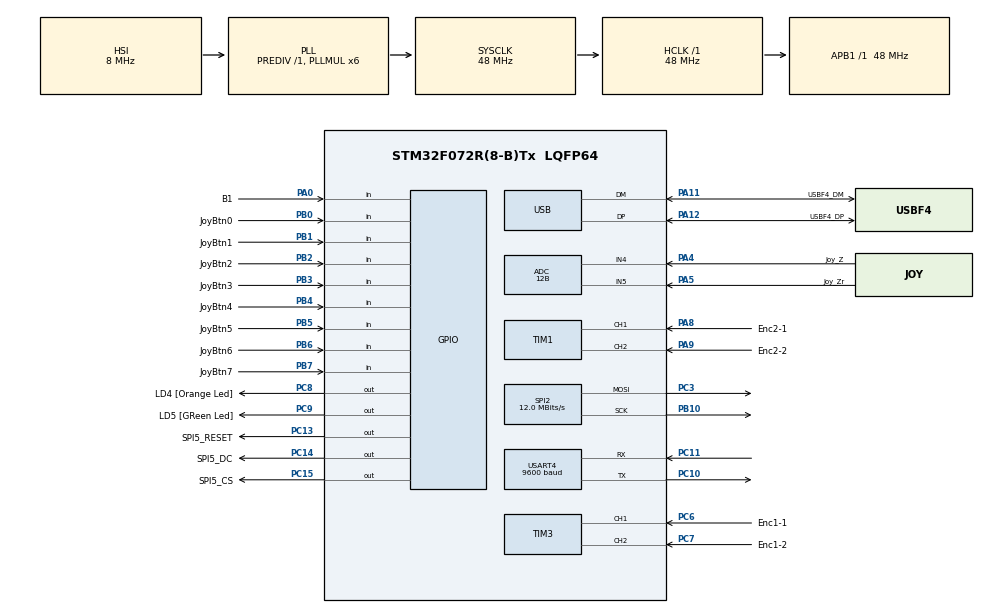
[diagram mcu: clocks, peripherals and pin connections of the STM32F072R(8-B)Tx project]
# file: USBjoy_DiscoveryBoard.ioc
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ADC.ClockPrescaler=ADC_CLOCK_ASYNC_DIV1
ADC.ContinuousConvMode=ENABLE
ADC.DMAContinuousRequests=ENABLE
ADC.DiscontinuousConvMode=DISABLE
ADC.EOCSelection=ADC_EOC_SINGLE_CONV
ADC.Overrun=ADC_OVR_DATA_PRESERVED
ADC.Resolution=ADC_RESOLUTION_12B
ADC.SamplingTime=ADC_SAMPLETIME_239CYCLES_5
ADC.ScanConvMode=ADC_SCAN_DIRECTION_FORWARD
Dma.ADC.0.Direction=DMA_PERIPH_TO_MEMORY
Dma.ADC.0.Instance=DMA1_Channel1
Dma.ADC.0.MemDataAlignment=DMA_MDATAALIGN_HALFWORD
Dma.ADC.0.MemInc=DMA_MINC_ENABLE
Dma.ADC.0.Mode=DMA_CIRCULAR
Dma.ADC.0.PeriphDataAlignment=DMA_PDATAALIGN_HALFWORD
Dma.ADC.0.PeriphInc=DMA_PINC_DISABLE
Dma.ADC.0.Priority=DMA_PRIORITY_LOW
Dma.Request0=ADC
Dma.Request1=SPI2_TX
Dma.SPI2_TX.1.Direction=DMA_MEMORY_TO_PERIPH
Dma.SPI2_TX.1.Instance=DMA1_Channel5
Dma.SPI2_TX.1.MemDataAlignment=DMA_MDATAALIGN_BYTE
Dma.SPI2_TX.1.MemInc=DMA_MINC_ENABLE
Dma.SPI2_TX.1.Mode=DMA_NORMAL
Dma.SPI2_TX.1.PeriphDataAlignment=DMA_PDATAALIGN_BYTE
Dma.SPI2_TX.1.PeriphInc=DMA_PINC_DISABLE
Dma.SPI2_TX.1.Priority=DMA_PRIORITY_LOW
Mcu.Family=STM32F0
Mcu.Name=STM32F072R(8-B)Tx
Mcu.Package=LQFP64
NVIC.DMA1_Channel1_IRQn=true\:0\:0\:false\:false\:true\:false\:true\:true
NVIC.DMA1_Channel4_5_6_7_IRQn=true\:0\:0\:false\:false\:true\:false\:true\:true
NVIC.SPI2_IRQn=true\:0\:0\:false\:false\:true\:true\:true\:true
NVIC.USB_IRQn=true\:0\:0\:false\:false\:true\:false\:true\:true
PA0.GPIO_Label=B1
PA0.GPIO_PuPd=GPIO_PULLDOWN
PA0.Signal=GPIO_Input
PA1.GPIO_Label=Joy1_Y
PA1.Signal=ADC_IN1
PA11.GPIO_Label=USBF4_DM
PA11.Mode=Device
PA11.Signal=USB_DM
PA12.GPIO_Label=USBF4_DP
PA12.Mode=Device
PA12.Signal=USB_DP
PA13.GPIO_Label=SWDIO
PA13.Mode=Serial_Wire
PA13.Signal=SYS_SWDIO
PA14.GPIO_Label=SWCLK
PA14.Mode=Serial_Wire
PA14.Signal=SYS_SWCLK
PA3.GPIO_Label=Joy2_Y
PA3.Signal=ADC_IN3
PA4.GPIO_Label=Joy_Z
PA4.Mode=IN4
PA4.Signal=ADC_IN4
PA5.GPIO_Label=Joy_Zr
PA5.Mode=IN5
PA5.Signal=ADC_IN5
PA6.Signal=TSC_G2_IO3
PA7.Signal=TSC_G2_IO4
PA8.GPIO_Label=Enc2-1
PA8.GPIO_PuPd=GPIO_PULLUP
PA8.Signal=S_TIM1_CH1
PA9.GPIO_Label=Enc2-2
PA9.GPIO_PuPd=GPIO_PULLUP
PA9.Signal=S_TIM1_CH2
PB0.GPIO_Label=JoyBtn0
PB0.GPIO_PuPd=GPIO_PULLDOWN
PB0.Signal=GPIO_Input
PB1.GPIO_Label=JoyBtn1
PB1.GPIO_PuPd=GPIO_PULLDOWN
PB1.Signal=GPIO_Input
PB10.Mode=TX_Only_Simplex_Unidirect_Master
PB10.Signal=SPI2_SCK
PB2.GPIO_Label=JoyBtn2
PB2.GPIO_PuPd=GPIO_PULLDOWN
PB2.Signal=GPIO_Input
PB3.GPIO_Label=JoyBtn3
PB3.GPIO_Mode=GPIO_MODE_INPUT
PB3.GPIO_PuPd=GPIO_PULLDOWN
PB3.Signal=GPIO_Input
PB4.GPIO_Label=JoyBtn4
PB4.GPIO_Mode=GPIO_MODE_INPUT
PB4.GPIO_PuPd=GPIO_PULLDOWN
PB4.Signal=GPIO_Input
PB5.GPIO_Label=JoyBtn5
PB5.GPIO_Mode=GPIO_MODE_INPUT
PB5.GPIO_PuPd=GPIO_PULLDOWN
PB5.Signal=GPIO_Input
PB6.GPIO_Label=JoyBtn6
PB6.GPIO_Mode=GPIO_MODE_INPUT
PB6.GPIO_PuPd=GPIO_PULLDOWN
PB6.Signal=GPIO_Input
PB7.GPIO_Label=JoyBtn7
PB7.GPIO_Mode=GPIO_MODE_INPUT
PB7.GPIO_PuPd=GPIO_PULLDOWN
PB7.Signal=GPIO_Input
PC10.Mode=Asynchronous
PC10.Signal=USART4_TX
PC11.Mode=Asynchronous
PC11.Signal=USART4_RX
PC13.GPIO_Label=SPI5_RESET
PC13.Signal=GPIO_Output
PC14-OSC32_IN.GPIO_Label=SPI5_DC
PC14-OSC32_IN.Signal=GPIO_Output
PC15-OSC32_OUT.GPIO_Label=SPI5_CS
PC15-OSC32_OUT.Signal=GPIO_Output
PC3.Mode=TX_Only_Simplex_Unidirect_Master
PC3.Signal=SPI2_MOSI
PC6.GPIO_Label=Enc1-1
PC6.GPIO_PuPd=GPIO_PULLUP
PC6.Signal=S_TIM3_CH1
PC7.GPIO_Label=Enc1-2
PC7.GPIO_PuPd=GPIO_PULLUP
PC7.Signal=S_TIM3_CH2
PC8.GPIO_Label=LD4 [Orange Led]
PC8.Signal=GPIO_Output
PC9.GPIO_Label=LD5 [GReen Led]
PC9.Signal=GPIO_Output
ProjectManager.HeapSize=0x200
ProjectManager.StackSize=0x400
ProjectManager.TargetToolchain=STM32CubeIDE
RCC.AHBFreq_Value=48000000
RCC.APB1Freq_Value=48000000
RCC.APB1TimFreq_Value=48000000
RCC.HCLKFreq_Value=48000000
RCC.PLLMUL=RCC_PLL_MUL6
RCC.SYSCLKFreq_VALUE=48000000
RCC.SYSCLKSource=RCC_SYSCLKSOURCE_PLLCLK
SH.S_TIM1_CH1.0=TIM1_CH1,Encoder_Interface
SH.S_TIM1_CH2.0=TIM1_CH2,Encoder_Interface
SH.S_TIM3_CH1.0=TIM3_CH1,Encoder_Interface
SH.S_TIM3_CH2.0=TIM3_CH2,Encoder_Interface
SPI2.BaudRatePrescaler=SPI_BAUDRATEPRESCALER_4
SPI2.CLKPhase=SPI_PHASE_2EDGE
SPI2.CLKPolarity=SPI_POLARITY_HIGH
SPI2.CalculateBaudRate=12.0 MBits/s
SPI2.DataSize=SPI_DATASIZE_8BIT
SPI2.Direction=SPI_DIRECTION_2LINES
SPI2.Mode=SPI_MODE_MASTER
SPI2.VirtualType=VM_MASTER
USART4.BaudRate=9600
USART4.VirtualMode-Asynchronous=VM_ASYNC
USB_DEVICE.CLASS_NAME_FS=CUSTOM_HID
USB_DEVICE.USBD_CUSTOMHID_OUTREPORT_BUF_SIZE=0x40
USB_DEVICE.USBD_CUSTOM_HID_REPORT_DESC_SIZE=80
USB_DEVICE.VirtualMode=CustomHid
USB_DEVICE.VirtualModeFS=Custom_Hid_FS
VP_ADC_Vbat_Input.Mode=IN-Vbat
VP_ADC_Vref_Input.Mode=IN-Vrefint
VP_RTC_VS_RTC_Activate.Mode=RTC_Enabled
VP_RTC_VS_RTC_Calendar.Mode=RTC_Calendar
VP_USB_DEVICE_VS_USB_DEVICE_CUSTOM_HID_FS.Mode=CUSTOM_HID_FS
board=STM32F072B-DISCO

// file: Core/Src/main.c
/* USER CODE BEGIN Header */
/**
  ******************************************************************************
  * @file           : main.c
  * @brief          : Main program body
  ******************************************************************************
  * @attention
  *
  * Copyright (c) 2025 STMicroelectronics.
  * All rights reserved.
  *
  * This software is licensed under terms that can be found in the LICENSE file
  * in the root directory of this software component.
  * If no LICENSE file comes with this software, it is provided AS-IS.
  *
  ******************************************************************************
  */
/* USER CODE END Header */
#include "main.h"
#include "usb_device.h"

/* USER CODE BEGIN Includes */
#include "usbd_customhid.h"
#include "otherFunc.h"
#include "uart.h"

#include "SSD1322_HW_Driver.h"
#include "SSD1322_API.h"
#include "SSD1322_GFX.h"

#include "Fonts/FreeMono12pt7b.h"
#include "Fonts/FreeSansOblique9pt7b.h"

/* USER CODE END Includes */

ADC_HandleTypeDef hadc;
DMA_HandleTypeDef hdma_adc;

RTC_HandleTypeDef hrtc;

SPI_HandleTypeDef hspi2;
DMA_HandleTypeDef hdma_spi2_tx;

TIM_HandleTypeDef htim1;
TIM_HandleTypeDef htim3;

UART_HandleTypeDef huart4;

/* USER CODE BEGIN PV */
extern USBD_HandleTypeDef hUsbDeviceFS;
uint8_t USB_RX_Buffer[64];
uint8_t USB_TX_Buffer[64];
uint16_t adcData[17] = {0};

uint8_t dmaEnd = 0;

uint32_t encode = 1;

FlagStatus USBDatainReady = RESET;

volatile uint8_t SPI2_TX_completed_flag = 1;    //flag indicating finish of SPI transmission

/* USER CODE END PV */

void SystemClock_Config(void);
static void MX_GPIO_Init(void);
static void MX_DMA_Init(void);
static void MX_ADC_Init(void);
static void MX_SPI2_Init(void);
static void MX_TIM1_Init(void);
static void MX_TIM3_Init(void);
static void MX_USART4_UART_Init(void);
static void MX_RTC_Init(void);

/* USER CODE BEGIN 0 */

void HAL_SPI_TxCpltCallback(SPI_HandleTypeDef *hspi)
{
	SSD1322_HW_drive_CS_high();
	SPI2_TX_completed_flag = 1;
}

/* USER CODE END 0 */

int main(void)
{

  /* MCU Configuration--------------------------------------------------------*/

  /* Reset of all peripherals, Initializes the Flash interface and the Systick. */
  HAL_Init();

  /* Configure the system clock */
  SystemClock_Config();

  /* Initialize all configured peripherals */
  MX_GPIO_Init();
  MX_DMA_Init();
  MX_USB_DEVICE_Init();
  MX_ADC_Init();
  MX_SPI2_Init();
  MX_TIM1_Init();
  MX_TIM3_Init();
  MX_USART4_UART_Init();
  MX_RTC_Init();
  /* USER CODE BEGIN 2 */

  uint8_t tx_buf[256 * 64 / 2];
  SSD1322_API_init();

  // запуск таймеров на обработку энкодеров
  HAL_TIM_Encoder_Start(&htim1, TIM_CHANNEL_ALL);
  HAL_TIM_Encoder_Start(&htim3, TIM_CHANNEL_ALL);

  // калибровка и запуск АЦП
  HAL_ADCEx_Calibration_Start(&hadc);
  HAL_ADC_Start_DMA(&hadc, (uint32_t *)adcData, 4);

  uint8_t len = 6;
  uint8_t buf[6] = {};

  /* USER CODE END 2 */

  /* Infinite loop */
  /* USER CODE BEGIN WHILE */
  while (1)
  {

		encode = __HAL_TIM_GET_COUNTER(&htim3);

		//Set frame buffer size in pixels - it is used to avoid writing to memory outside frame buffer
		//Normally it has to only be done once on initialization, but buffer size is changed near the end of while(1);.
		set_buffer_size(256, 64);
		// Fill buffer with zeros to clear any garbage values
		fill_buffer(tx_buf, 0);

		select_font(&FreeMono12pt7b);
		// now text will we written with that font
		len = 0;
		while(encode){
			draw_char(tx_buf, '0'+(encode % 10), 50 - (len*10), 20, 15);
			encode /= 10;
			len++;
		}

		// send a frame buffer to the display
		send_buffer_to_OLED(tx_buf, 0, 0);

	  // если по USB что-то пришло
	  if(USBDatainReady == SET)
	  {
		  switch(USB_RX_Buffer[0]) // в зависимости от пришедшего числа зажигаем или гасим светодиод на плате
		  {
//		  case 0: if(USB_RX_Buffer[1])
//					  HAL_GPIO_WritePin(LD3_GPIO_Port, LD3_Pin, GPIO_PIN_SET);
//				  else
//					  HAL_GPIO_WritePin(LD3_GPIO_Port, LD3_Pin, GPIO_PIN_RESET);
//				  break;
		  case 1: if(USB_RX_Buffer[1])
					  HAL_GPIO_WritePin(LD4_GPIO_Port, LD4_Pin, GPIO_PIN_SET);
				  else
					  HAL_GPIO_WritePin(LD4_GPIO_Port, LD4_Pin, GPIO_PIN_RESET);
				  break;
		  case 2: if(USB_RX_Buffer[1])
					  HAL_GPIO_WritePin(LD5_GPIO_Port, LD5_Pin, GPIO_PIN_SET);
				  else
					  HAL_GPIO_WritePin(LD5_GPIO_Port, LD5_Pin, GPIO_PIN_RESET);
				  break;
//		  case 3: if(USB_RX_Buffer[1])
//					  HAL_GPIO_WritePin(LD6_GPIO_Port, LD6_Pin, GPIO_PIN_SET);
//				  else
//					  HAL_GPIO_WritePin(LD6_GPIO_Port, LD6_Pin, GPIO_PIN_RESET);
//				  break;
		  default: break;
		  }

		  USBDatainReady = RESET;
	  }

	// если dma сохранил результаты преобразования АЦП
	if(dmaEnd){
		// сохраняем значение осей
		USB_TX_Buffer[0] = (uint8_t)(adcData[0] >> 4) - 128;  // X
		USB_TX_Buffer[1] = (uint8_t)(adcData[1] >> 4) - 128;  // Y
		USB_TX_Buffer[2] = (uint8_t)(adcData[0] >> 4) - 128;  // Z  (не работающий канал)
		USB_TX_Buffer[3] = (uint8_t)(adcData[1] >> 4) - 128;  // rZ (не работающий канал)

		UartPrintString(&huart4, "ACP1: ", 6, 0);
		UartPrintInt(&huart4, (int32_t)adcData[0], 1);
		UartPrintString(&huart4, "ACP2: ", 6, 0);
		UartPrintInt(&huart4, (int32_t)adcData[1], 1);
		__HAL_TIM_GET_COUNTER(&htim1);
	}

	dmaEnd = 0; // сброс флага dma

	// кнопки ряда 1
	USB_TX_Buffer[4] =
			HAL_GPIO_ReadPin(B1_GPIO_Port, B1_Pin) |
			(HAL_GPIO_ReadPin(JoyBtn3_GPIO_Port, JoyBtn3_Pin) << 1) |
			(HAL_GPIO_ReadPin(JoyBtn4_GPIO_Port, JoyBtn4_Pin) << 2) |
			(HAL_GPIO_ReadPin(JoyBtn5_GPIO_Port, JoyBtn5_Pin) << 3) |
			(HAL_GPIO_ReadPin(JoyBtn6_GPIO_Port, JoyBtn6_Pin) << 4) |
			(HAL_GPIO_ReadPin(JoyBtn7_GPIO_Port, JoyBtn7_Pin) << 5);

	// кнопки ряда 2
	USB_TX_Buffer[5] = HAL_GPIO_ReadPin(JoyBtn2_GPIO_Port, JoyBtn2_Pin);

	USBD_CUSTOM_HID_SendReport(&hUsbDeviceFS, USB_TX_Buffer, 6); // отправка USB пакета
  }

    /* USER CODE END WHILE */

}

void SystemClock_Config(void)
{
  RCC_OscInitTypeDef RCC_OscInitStruct = {0};
  RCC_ClkInitTypeDef RCC_ClkInitStruct = {0};
  RCC_PeriphCLKInitTypeDef PeriphClkInit = {0};

  /** Initializes the RCC Oscillators according to the specified parameters
  * in the RCC_OscInitTypeDef structure.
  */
  RCC_OscInitStruct.OscillatorType = RCC_OSCILLATORTYPE_HSI|RCC_OSCILLATORTYPE_HSI14
                              |RCC_OSCILLATORTYPE_HSI48|RCC_OSCILLATORTYPE_LSI;
  RCC_OscInitStruct.HSIState = RCC_HSI_ON;
  RCC_OscInitStruct.HSI48State = RCC_HSI48_ON;
  RCC_OscInitStruct.HSI14State = RCC_HSI14_ON;
  RCC_OscInitStruct.HSICalibrationValue = RCC_HSICALIBRATION_DEFAULT;
  RCC_OscInitStruct.HSI14CalibrationValue = 16;
  RCC_OscInitStruct.LSIState = RCC_LSI_ON;
  RCC_OscInitStruct.PLL.PLLState = RCC_PLL_ON;
  RCC_OscInitStruct.PLL.PLLSource = RCC_PLLSOURCE_HSI;
  RCC_OscInitStruct.PLL.PLLMUL = RCC_PLL_MUL6;
  RCC_OscInitStruct.PLL.PREDIV = RCC_PREDIV_DIV1;
  if (HAL_RCC_OscConfig(&RCC_OscInitStruct) != HAL_OK)
  {
    Error_Handler();
  }

  /** Initializes the CPU, AHB and APB buses clocks
  */
  RCC_ClkInitStruct.ClockType = RCC_CLOCKTYPE_HCLK|RCC_CLOCKTYPE_SYSCLK
                              |RCC_CLOCKTYPE_PCLK1;
  RCC_ClkInitStruct.SYSCLKSource = RCC_SYSCLKSOURCE_PLLCLK;
  RCC_ClkInitStruct.AHBCLKDivider = RCC_SYSCLK_DIV1;
  RCC_ClkInitStruct.APB1CLKDivider = RCC_HCLK_DIV1;

  if (HAL_RCC_ClockConfig(&RCC_ClkInitStruct, FLASH_LATENCY_1) != HAL_OK)
  {
    Error_Handler();
  }
  PeriphClkInit.PeriphClockSelection = RCC_PERIPHCLK_USB|RCC_PERIPHCLK_RTC;
  PeriphClkInit.RTCClockSelection = RCC_RTCCLKSOURCE_LSI;
  PeriphClkInit.UsbClockSelection = RCC_USBCLKSOURCE_HSI48;

  if (HAL_RCCEx_PeriphCLKConfig(&PeriphClkInit) != HAL_OK)
  {
    Error_Handler();
  }
}

static void MX_ADC_Init(void)
{

  ADC_ChannelConfTypeDef sConfig = {0};

  /** Configure the global features of the ADC (Clock, Resolution, Data Alignment and number of conversion)
  */
  hadc.Instance = ADC1;
  hadc.Init.ClockPrescaler = ADC_CLOCK_ASYNC_DIV1;
  hadc.Init.Resolution = ADC_RESOLUTION_12B;
  hadc.Init.DataAlign = ADC_DATAALIGN_RIGHT;
  hadc.Init.ScanConvMode = ADC_SCAN_DIRECTION_FORWARD;
  hadc.Init.EOCSelection = ADC_EOC_SINGLE_CONV;
  hadc.Init.LowPowerAutoWait = DISABLE;
  hadc.Init.LowPowerAutoPowerOff = DISABLE;
  hadc.Init.ContinuousConvMode = ENABLE;
  hadc.Init.DiscontinuousConvMode = DISABLE;
  hadc.Init.ExternalTrigConv = ADC_SOFTWARE_START;
  hadc.Init.ExternalTrigConvEdge = ADC_EXTERNALTRIGCONVEDGE_NONE;
  hadc.Init.DMAContinuousRequests = ENABLE;
  hadc.Init.Overrun = ADC_OVR_DATA_PRESERVED;
  if (HAL_ADC_Init(&hadc) != HAL_OK)
  {
    Error_Handler();
  }

  /** Configure for the selected ADC regular channel to be converted.
  */
  sConfig.Channel = ADC_CHANNEL_4;
  sConfig.Rank = ADC_RANK_CHANNEL_NUMBER;
  sConfig.SamplingTime = ADC_SAMPLETIME_239CYCLES_5;
  if (HAL_ADC_ConfigChannel(&hadc, &sConfig) != HAL_OK)
  {
    Error_Handler();
  }

  /** Configure for the selected ADC regular channel to be converted.
  */
  sConfig.Channel = ADC_CHANNEL_5;
  if (HAL_ADC_ConfigChannel(&hadc, &sConfig) != HAL_OK)
  {
    Error_Handler();
  }

  /** Configure for the selected ADC regular channel to be converted.
  */
  sConfig.Channel = ADC_CHANNEL_VREFINT;
  if (HAL_ADC_ConfigChannel(&hadc, &sConfig) != HAL_OK)
  {
    Error_Handler();
  }

  /** Configure for the selected ADC regular channel to be converted.
  */
  sConfig.Channel = ADC_CHANNEL_VBAT;
  if (HAL_ADC_ConfigChannel(&hadc, &sConfig) != HAL_OK)
  {
    Error_Handler();
  }

}

static void MX_RTC_Init(void)
{

  RTC_TimeTypeDef sTime = {0};
  RTC_DateTypeDef sDate = {0};

  /** Initialize RTC Only
  */
  hrtc.Instance = RTC;
  hrtc.Init.HourFormat = RTC_HOURFORMAT_24;
  hrtc.Init.AsynchPrediv = 127;
  hrtc.Init.SynchPrediv = 255;
  hrtc.Init.OutPut = RTC_OUTPUT_DISABLE;
  hrtc.Init.OutPutPolarity = RTC_OUTPUT_POLARITY_HIGH;
  hrtc.Init.OutPutType = RTC_OUTPUT_TYPE_OPENDRAIN;
  if (HAL_RTC_Init(&hrtc) != HAL_OK)
  {
    Error_Handler();
  }

  /** Initialize RTC and set the Time and Date
  */
  sTime.Hours = 0x0;
  sTime.Minutes = 0x0;
  sTime.Seconds = 0x0;
  sTime.DayLightSaving = RTC_DAYLIGHTSAVING_NONE;
  sTime.StoreOperation = RTC_STOREOPERATION_RESET;
  if (HAL_RTC_SetTime(&hrtc, &sTime, RTC_FORMAT_BCD) != HAL_OK)
  {
    Error_Handler();
  }
  sDate.WeekDay = RTC_WEEKDAY_MONDAY;
  sDate.Month = RTC_MONTH_JANUARY;
  sDate.Date = 0x1;
  sDate.Year = 0x0;

  if (HAL_RTC_SetDate(&hrtc, &sDate, RTC_FORMAT_BCD) != HAL_OK)
  {
    Error_Handler();
  }

}

static void MX_SPI2_Init(void)
{

  /* SPI2 parameter configuration*/
  hspi2.Instance = SPI2;
  hspi2.Init.Mode = SPI_MODE_MASTER;
  hspi2.Init.Direction = SPI_DIRECTION_2LINES;
  hspi2.Init.DataSize = SPI_DATASIZE_8BIT;
  hspi2.Init.CLKPolarity = SPI_POLARITY_HIGH;
  hspi2.Init.CLKPhase = SPI_PHASE_2EDGE;
  hspi2.Init.NSS = SPI_NSS_SOFT;
  hspi2.Init.BaudRatePrescaler = SPI_BAUDRATEPRESCALER_4;
  hspi2.Init.FirstBit = SPI_FIRSTBIT_MSB;
  hspi2.Init.TIMode = SPI_TIMODE_DISABLE;
  hspi2.Init.CRCCalculation = SPI_CRCCALCULATION_DISABLE;
  hspi2.Init.CRCPolynomial = 7;
  hspi2.Init.CRCLength = SPI_CRC_LENGTH_DATASIZE;
  hspi2.Init.NSSPMode = SPI_NSS_PULSE_DISABLE;
  if (HAL_SPI_Init(&hspi2) != HAL_OK)
  {
    Error_Handler();
  }

}

static void MX_TIM1_Init(void)
{

  TIM_Encoder_InitTypeDef sConfig = {0};
  TIM_MasterConfigTypeDef sMasterConfig = {0};

  htim1.Instance = TIM1;
  htim1.Init.Prescaler = 0;
  htim1.Init.CounterMode = TIM_COUNTERMODE_UP;
  htim1.Init.Period = 65535;
  htim1.Init.ClockDivision = TIM_CLOCKDIVISION_DIV1;
  htim1.Init.RepetitionCounter = 0;
  htim1.Init.AutoReloadPreload = TIM_AUTORELOAD_PRELOAD_DISABLE;
  sConfig.EncoderMode = TIM_ENCODERMODE_TI1;
  sConfig.IC1Polarity = TIM_ICPOLARITY_RISING;
  sConfig.IC1Selection = TIM_ICSELECTION_DIRECTTI;
  sConfig.IC1Prescaler = TIM_ICPSC_DIV1;
  sConfig.IC1Filter = 0;
  sConfig.IC2Polarity = TIM_ICPOLARITY_RISING;
  sConfig.IC2Selection = TIM_ICSELECTION_DIRECTTI;
  sConfig.IC2Prescaler = TIM_ICPSC_DIV1;
  sConfig.IC2Filter = 0;
  if (HAL_TIM_Encoder_Init(&htim1, &sConfig) != HAL_OK)
  {
    Error_Handler();
  }
  sMasterConfig.MasterOutputTrigger = TIM_TRGO_RESET;
  sMasterConfig.MasterSlaveMode = TIM_MASTERSLAVEMODE_DISABLE;
  if (HAL_TIMEx_MasterConfigSynchronization(&htim1, &sMasterConfig) != HAL_OK)
  {
    Error_Handler();
  }

}

static void MX_TIM3_Init(void)
{

  TIM_Encoder_InitTypeDef sConfig = {0};
  TIM_MasterConfigTypeDef sMasterConfig = {0};

  htim3.Instance = TIM3;
  htim3.Init.Prescaler = 0;
  htim3.Init.CounterMode = TIM_COUNTERMODE_UP;
  htim3.Init.Period = 65535;
  htim3.Init.ClockDivision = TIM_CLOCKDIVISION_DIV1;
  htim3.Init.AutoReloadPreload = TIM_AUTORELOAD_PRELOAD_DISABLE;
  sConfig.EncoderMode = TIM_ENCODERMODE_TI1;
  sConfig.IC1Polarity = TIM_ICPOLARITY_RISING;
  sConfig.IC1Selection = TIM_ICSELECTION_DIRECTTI;
  sConfig.IC1Prescaler = TIM_ICPSC_DIV1;
  sConfig.IC1Filter = 0;
  sConfig.IC2Polarity = TIM_ICPOLARITY_RISING;
  sConfig.IC2Selection = TIM_ICSELECTION_DIRECTTI;
  sConfig.IC2Prescaler = TIM_ICPSC_DIV1;
  sConfig.IC2Filter = 0;
  if (HAL_TIM_Encoder_Init(&htim3, &sConfig) != HAL_OK)
  {
    Error_Handler();
  }
  sMasterConfig.MasterOutputTrigger = TIM_TRGO_RESET;
  sMasterConfig.MasterSlaveMode = TIM_MASTERSLAVEMODE_DISABLE;
  if (HAL_TIMEx_MasterConfigSynchronization(&htim3, &sMasterConfig) != HAL_OK)
  {
    Error_Handler();
  }

}

static void MX_USART4_UART_Init(void)
{

  huart4.Instance = USART4;
  huart4.Init.BaudRate = 9600;
  huart4.Init.WordLength = UART_WORDLENGTH_8B;
  huart4.Init.StopBits = UART_STOPBITS_1;
  huart4.Init.Parity = UART_PARITY_NONE;
  huart4.Init.Mode = UART_MODE_TX_RX;
  huart4.Init.HwFlowCtl = UART_HWCONTROL_NONE;
  huart4.Init.OverSampling = UART_OVERSAMPLING_16;
  huart4.Init.OneBitSampling = UART_ONE_BIT_SAMPLE_DISABLE;
  huart4.AdvancedInit.AdvFeatureInit = UART_ADVFEATURE_NO_INIT;
  if (HAL_UART_Init(&huart4) != HAL_OK)
  {
    Error_Handler();
  }

}

static void MX_DMA_Init(void)
{

  /* DMA controller clock enable */
  __HAL_RCC_DMA1_CLK_ENABLE();

  /* DMA interrupt init */
  /* DMA1_Channel1_IRQn interrupt configuration */
  HAL_NVIC_SetPriority(DMA1_Channel1_IRQn, 0, 0);
  HAL_NVIC_EnableIRQ(DMA1_Channel1_IRQn);
  /* DMA1_Channel4_5_6_7_IRQn interrupt configuration */
  HAL_NVIC_SetPriority(DMA1_Channel4_5_6_7_IRQn, 0, 0);
  HAL_NVIC_EnableIRQ(DMA1_Channel4_5_6_7_IRQn);

}

static void MX_GPIO_Init(void)
{
  GPIO_InitTypeDef GPIO_InitStruct = {0};

  /* GPIO Ports Clock Enable */
  __HAL_RCC_GPIOC_CLK_ENABLE();
  __HAL_RCC_GPIOA_CLK_ENABLE();
  __HAL_RCC_GPIOB_CLK_ENABLE();

  /*Configure GPIO pin Output Level */
  HAL_GPIO_WritePin(GPIOC, SPI5_RESET_Pin|SPI5_DC_Pin|SPI5_CS_Pin|LD4_Pin
                          |LD5_Pin, GPIO_PIN_RESET);

  /*Configure GPIO pins : SPI5_RESET_Pin SPI5_DC_Pin SPI5_CS_Pin LD4_Pin
                           LD5_Pin */
  GPIO_InitStruct.Pin = SPI5_RESET_Pin|SPI5_DC_Pin|SPI5_CS_Pin|LD4_Pin
                          |LD5_Pin;
  GPIO_InitStruct.Mode = GPIO_MODE_OUTPUT_PP;
  GPIO_InitStruct.Pull = GPIO_NOPULL;
  GPIO_InitStruct.Speed = GPIO_SPEED_FREQ_LOW;
  HAL_GPIO_Init(GPIOC, &GPIO_InitStruct);

  /*Configure GPIO pin : B1_Pin */
  GPIO_InitStruct.Pin = B1_Pin;
  GPIO_InitStruct.Mode = GPIO_MODE_INPUT;
  GPIO_InitStruct.Pull = GPIO_PULLDOWN;
  HAL_GPIO_Init(B1_GPIO_Port, &GPIO_InitStruct);

  /*Configure GPIO pins : PA6 PA7 */
  GPIO_InitStruct.Pin = GPIO_PIN_6|GPIO_PIN_7;
  GPIO_InitStruct.Mode = GPIO_MODE_AF_PP;
  GPIO_InitStruct.Pull = GPIO_NOPULL;
  GPIO_InitStruct.Speed = GPIO_SPEED_FREQ_LOW;
  GPIO_InitStruct.Alternate = GPIO_AF3_TSC;
  HAL_GPIO_Init(GPIOA, &GPIO_InitStruct);

  /*Configure GPIO pins : JoyBtn0_Pin JoyBtn1_Pin JoyBtn2_Pin JoyBtn3_Pin
                           JoyBtn4_Pin JoyBtn5_Pin JoyBtn6_Pin JoyBtn7_Pin */
  GPIO_InitStruct.Pin = JoyBtn0_Pin|JoyBtn1_Pin|JoyBtn2_Pin|JoyBtn3_Pin
                          |JoyBtn4_Pin|JoyBtn5_Pin|JoyBtn6_Pin|JoyBtn7_Pin;
  GPIO_InitStruct.Mode = GPIO_MODE_INPUT;
  GPIO_InitStruct.Pull = GPIO_PULLDOWN;
  HAL_GPIO_Init(GPIOB, &GPIO_InitStruct);

}

/* USER CODE BEGIN 4 */
void HAL_ADC_ConvCpltCallback(ADC_HandleTypeDef* hadc)
{
// This function is automatically called when DMA completes a transfer
	dmaEnd = 1;

}
/* USER CODE END 4 */

void Error_Handler(void)
{
  __disable_irq();
  while (1)
  {
  }
}
